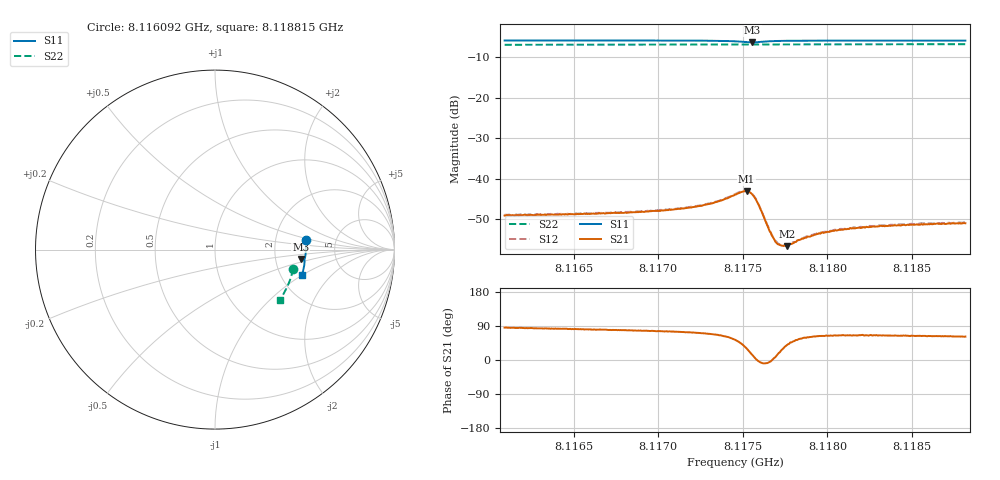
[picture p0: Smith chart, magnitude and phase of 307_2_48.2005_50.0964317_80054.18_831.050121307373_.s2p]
#  HZ  S  RI  R  50.00
! Rohde & Schwarz Vector Network Analyzer
! Rohde-Schwarz,ZNB20-2Port,1311601062101988,3.16
! Created: UTC 3/20/2024, 11:49:49 AM
! freq[Hz]  re:S11  im:S11  re:S21  im:S21  re:S12  im:S12  re:S22  im:S22
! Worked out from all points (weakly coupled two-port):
!   401 points, 8.116092 GHz to 8.118815 GHz, reference 50 ohm
!   highest |S21| = -43.11 dB at 8.117522 GHz (marker M1); lowest = -56.7 dB at 8.11776 GHz (marker M2)
!   lowest |S11| = -6.4 dB at 8.117556 GHz (marker M3), VSWR 2.85, Z = 140 - j18.7 ohm
!   |S11| at or under -10 dB: nowhere
!   |S22| runs from -7.0 to -6.8 dB; largest |S21 - S12| = 0.0002
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8.1160918e9  0.5047 0.0513  0.000282 0.00348  0.000349 0.00357  0.4355 -0.1076
8.116548e9  0.5063 0.017  0.000568 0.00361  0.000625 0.00365  0.4281 -0.1385
8.1170042e9  0.5054 -0.0183  0.000943 0.00389  0.00104 0.0039  0.4183 -0.1686
8.1171608e9  0.504 -0.0312  0.00125 0.00411  0.00131 0.00418  0.4146 -0.1791
8.1172697e9  0.5022 -0.0407  0.00159 0.00444  0.00165 0.00447  0.4116 -0.1861
8.1173582e9  0.4995 -0.0494  0.00219 0.00478  0.00224 0.00482  0.4092 -0.1919
8.1174535e9  0.4919 -0.0588  0.00377 0.00509  0.00388 0.00511  0.4063 -0.1981
8.1174944e9  0.4852 -0.0604  0.00509 0.00459  0.00523 0.00463  0.4049 -0.2004
8.1175216e9  0.4801 -0.0585  0.00601 0.00358  0.00618 0.00357  0.4037 -0.2021
8.1175557e9  0.4774 -0.0515  0.00621 0.00145  0.00631 0.00139  0.403 -0.2037
8.1175897e9  0.4821 -0.0455  0.0049 -0.00021  0.00497 -0.00024  0.4023 -0.2056
8.1176646e9  0.4943 -0.0493  0.00214 -0.000139  0.00216 -0.000142  0.4007 -0.2104
8.1176918e9  0.4965 -0.0528  0.00165 0.000213  0.00169 0.000211  0.3999 -0.2123
8.1177054e9  0.4971 -0.0543  0.00149 0.000413  0.00155 0.000392  0.3995 -0.213
8.1177259e9  0.4978 -0.0568  0.00135 0.000637  0.00137 0.000596  0.3989 -0.2144
8.1177599e9  0.4986 -0.0606  0.00114 0.00092  0.0012 0.000955  0.3978 -0.2166
8.1178348e9  0.4991 -0.0682  0.000983 0.00144  0.00102 0.00145  0.3955 -0.2213
8.1179097e9  0.4987 -0.0751  0.000943 0.00173  0.00096 0.00178  0.3933 -0.2261
8.1180595e9  0.4971 -0.0875  0.000982 0.00207  0.001 0.00212  0.3882 -0.2353
8.1181684e9  0.4955 -0.0961  0.00103 0.00222  0.00105 0.00226  0.3845 -0.2421
8.1183659e9  0.4925 -0.1111  0.00113 0.00237  0.00115 0.0024  0.3774 -0.2541
8.1188152e9  0.4834 -0.144  0.00133 0.00248  0.00136 0.00252  0.3601 -0.2804
